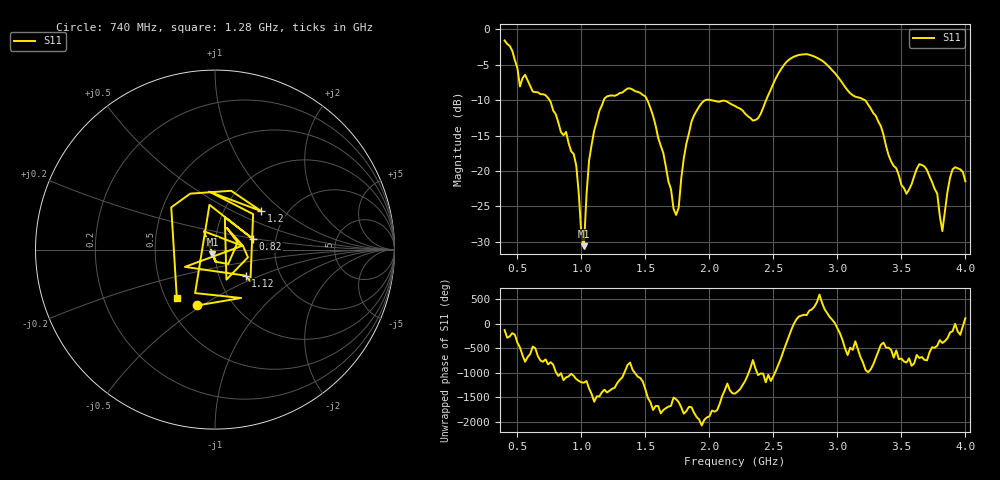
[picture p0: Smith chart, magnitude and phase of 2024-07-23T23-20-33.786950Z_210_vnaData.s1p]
!Created with skrf (http://scikit-rf.org).
# Hz S RI R 50.0
!freq ReS11 ImS11
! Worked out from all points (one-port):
!   181 points, 400 MHz to 4 GHz, reference 50 ohm
!   lowest |S11| = -30.6 dB at 1.02 GHz (marker M1), VSWR 1.06, Z = 48.5 - j2.49 ohm
!   |S11| at or under -10 dB: 1.514 GHz to 1.97 GHz (455.9 MHz wide, 26.2 % of centre); 2.011 GHz to 2.443 GHz (431.9 MHz wide, 19.4 % of centre); 3.213 GHz to end of sweep (the widest 3 of 4)
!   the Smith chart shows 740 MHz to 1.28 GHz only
!   S11 on the Smith chart (normalised r, x): 740 MHz: 0.68, -0.48; 820 MHz: 1.52, +0.19; 1.12 GHz: 1.34, -0.41; 1.2 GHz: 1.49, +0.72; 1.28 GHz: 0.57, -0.35
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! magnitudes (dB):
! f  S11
! 400 MHz  -1.6
! 520 MHz  -8.1
! 740 MHz  -9.7
! 820 MHz  -13.2
! 860 MHz  -14.9
! 960 MHz  -19.3
! 1.02 GHz  -30.6
! 1.06 GHz  -18.5
! 1.12 GHz  -13.0
! 1.2 GHz  -9.5
! 1.28 GHz  -9.2
! 1.3 GHz  -9.0
! 1.5 GHz  -9.5
! 1.72 GHz  -25.3
! 1.76 GHz  -25.2
! 1.8 GHz  -18.2
! 1.88 GHz  -12.2
! 2.2 GHz  -10.8
! 2.38 GHz  -12.6
! 2.66 GHz  -3.9
! 3.1 GHz  -9.0
! 3.3 GHz  -12.2
! 3.56 GHz  -22.6
! 3.68 GHz  -19.4
! 3.78 GHz  -23.2
! 3.82 GHz  -28.5
! 3.9 GHz  -19.8
! 4 GHz  -21.5
